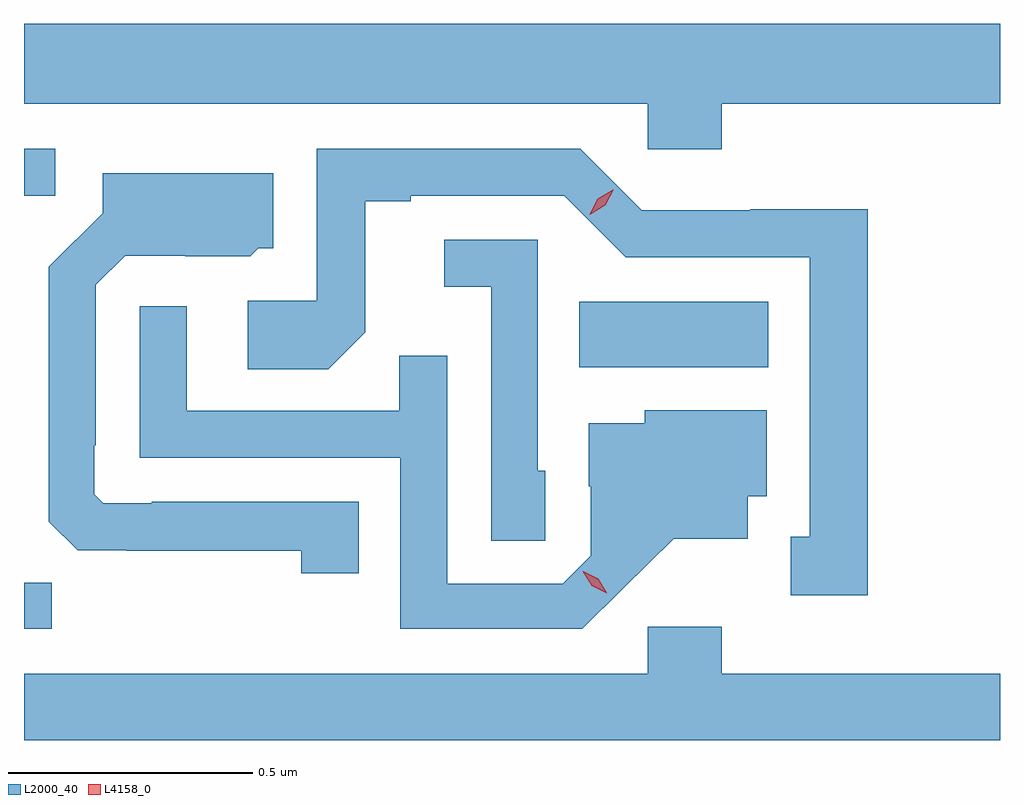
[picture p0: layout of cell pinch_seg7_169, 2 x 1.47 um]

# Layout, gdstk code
import gdstk
lib = gdstk.Library(unit=1e-6, precision=1e-09)
def R(c, l, rs):  # rectangles x0, y0, x1, y1
    for r in rs: c.add(gdstk.rectangle(r[:2], r[2:], *l))
def P(c, l, *ps):  # polygons
    for p in ps: c.add(gdstk.Polygon(p, *l))
L2000_40 = (2000, 40)
L4158_0 = (4158, 0)

pinch_seg7_169 = lib.new_cell('pinch_seg7_169')
R(pinch_seg7_169, L2000_40, [(1047.318,1028.844,1047.375,1028.939), (1048.456,1029.38,1048.843,1029.514), (1047.318,1029.732,1047.382,1029.828)])
P(pinch_seg7_169, L2000_40, [(1048.748,1029.92),(1049.318,1029.92),(1049.318,1030.084),(1047.318,1030.084),(1047.318,1029.92),(1048.596,1029.92),(1048.596,1029.827),(1048.748,1029.827)],
  [(1049.047,1029.704),(1048.806,1029.704),(1048.806,1029.702),(1048.584,1029.702),(1048.458,1029.828),(1047.918,1029.828),(1047.918,1029.516),(1047.777,1029.516),(1047.777,1029.376),(1047.941,1029.376),(1048.017,1029.452),(1048.017,1029.72),(1048.111,1029.72),(1048.111,1029.732),(1048.425,1029.732),(1048.551,1029.606),(1048.928,1029.606),(1048.928,1029.033),(1048.889,1029.033),(1048.889,1028.913),(1049.047,1028.913)],
  [(1048.004,1029.105),(1047.58,1029.105),(1047.58,1029.102),(1047.48,1029.102),(1047.462,1029.12),(1047.462,1029.22),(1047.465,1029.22),(1047.465,1029.549),(1047.525,1029.609),(1047.648,1029.609),(1047.648,1029.608),(1047.782,1029.608),(1047.798,1029.624),(1047.829,1029.624),(1047.829,1029.778),(1047.479,1029.778),(1047.479,1029.696),(1047.369,1029.586),(1047.369,1029.064),(1047.428,1029.005),(1047.529,1029.005),(1047.529,1029.004),(1047.886,1029.004),(1047.886,1028.958),(1048.004,1028.958)],
  [(1048.386,1029.168),(1048.371,1029.168),(1048.371,1029.642),(1048.179,1029.642),(1048.179,1029.545),(1048.275,1029.545),(1048.275,1029.025),(1048.386,1029.025)],
  [(1048.546,1028.927),(1048.649,1029.029),(1048.801,1029.029),(1048.801,1029.116),(1048.84,1029.116),(1048.84,1029.292),(1048.59,1029.292),(1048.59,1029.265),(1048.475,1029.265),(1048.475,1029.136),(1048.479,1029.136),(1048.479,1028.994),(1048.422,1028.937),(1048.185,1028.937),(1048.185,1029.404),(1048.087,1029.404),(1048.087,1029.291),(1047.651,1029.291),(1047.651,1029.505),(1047.555,1029.505),(1047.555,1029.195),(1048.089,1029.195),(1048.089,1028.844),(1048.462,1028.844)],
  [(1049.318,1028.752),(1048.748,1028.752),(1048.748,1028.848),(1048.596,1028.848),(1048.596,1028.752),(1047.318,1028.752),(1047.318,1028.616),(1049.318,1028.616)])
P(pinch_seg7_169, L4158_0, [(1048.477,1029.693),(1048.477,1029.694),(1048.494,1029.726),(1048.526,1029.745),(1048.526,1029.745),(1048.526,1029.745),(1048.509,1029.712),(1048.477,1029.693)],
  [(1048.512,1028.917),(1048.481,1028.932),(1048.463,1028.962),(1048.463,1028.962),(1048.464,1028.962),(1048.495,1028.947),(1048.512,1028.918),(1048.512,1028.917)])

lib.write_gds('pinch_seg7_169.gds')
